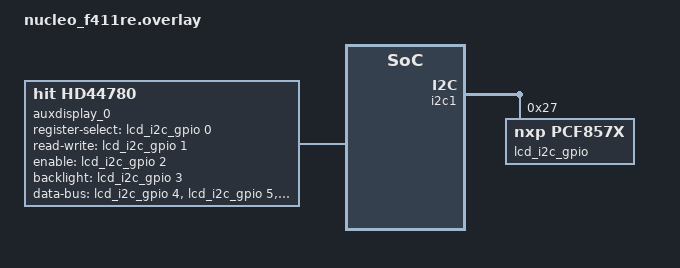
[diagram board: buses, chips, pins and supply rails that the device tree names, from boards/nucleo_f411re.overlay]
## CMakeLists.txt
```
cmake_minimum_required(VERSION 3.20.0)

find_package(Zephyr REQUIRED HINTS $ENV{ZEPHYR_BASE})
project(lcd_display)

target_sources(app PRIVATE src/main.c)
```

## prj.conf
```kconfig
CONFIG_GPIO=y
CONFIG_AUXDISPLAY=y
CONFIG_GPIO_PCF857X=y
CONFIG_AUXDISPLAY_HD44780=y
```

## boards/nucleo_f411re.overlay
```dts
/ {
	auxdisplay_0: auxdisplay {
		compatible = "hit,hd44780";
		columns = <20>;
		rows = <4>;
		mode = <4>;
		register-select-gpios = <&lcd_i2c_gpio 0 (GPIO_ACTIVE_HIGH)>;
		read-write-gpios = <&lcd_i2c_gpio 1 (GPIO_ACTIVE_HIGH)>;
		enable-gpios = <&lcd_i2c_gpio 2 (GPIO_ACTIVE_HIGH)>;
		backlight-gpios = <&lcd_i2c_gpio 3 (GPIO_ACTIVE_HIGH)>;
		data-bus-gpios = <0>, <0>, <0>, <0>,
				<&lcd_i2c_gpio 4 (GPIO_ACTIVE_HIGH)>,
				<&lcd_i2c_gpio 5 (GPIO_ACTIVE_HIGH)>,
				<&lcd_i2c_gpio 6 (GPIO_ACTIVE_HIGH)>,
				<&lcd_i2c_gpio 7 (GPIO_ACTIVE_HIGH)>;
		boot-delay-ms = <100>;

		status = "okay";
	};
};

&i2c1 {
	status = "okay";

	lcd_i2c_gpio: pcf8574@27 {
		compatible = "nxp,pcf857x";
		reg = <0x27>;
		gpio-controller;
		#gpio-cells = <2>;
		ngpios = <8>;
		status = "okay";
	};
};
```

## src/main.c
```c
#include <string.h>

#include <zephyr/kernel.h>
#include <zephyr/device.h>
#include <zephyr/drivers/gpio.h>
#include <zephyr/drivers/auxdisplay.h>


int main()
{
  const struct device *lcd = DEVICE_DT_GET(DT_NODELABEL(auxdisplay_0));
  uint8_t data[64];
  int rc = 0;

  printk("Set up LCD display\n");

  if(!device_is_ready(lcd))
  {
    printk("Auxdisplay device is not ready.");
    return 1;
  }

  rc = auxdisplay_backlight_set(lcd, 1);
  if (rc != 0)
  {
    printk("Failed to enable backlight: %d", rc);
    return 1;
  }

  rc = auxdisplay_cursor_set_enabled(lcd, true);
  if (rc != 0)
  {
    printk("Failed to enable cursor: %d", rc);
    return 1;
  }

  snprintk(data, sizeof(data), "Hello world from %s", CONFIG_BOARD);
  rc = auxdisplay_write(lcd, data, strlen(data));
  if(rc != 0) {
    printk("Failed to write data: %d", rc);
    return 1;
  }

  printk("Main-Loop\n");

  while(1)
  {
  }

  return 0;
}
```
